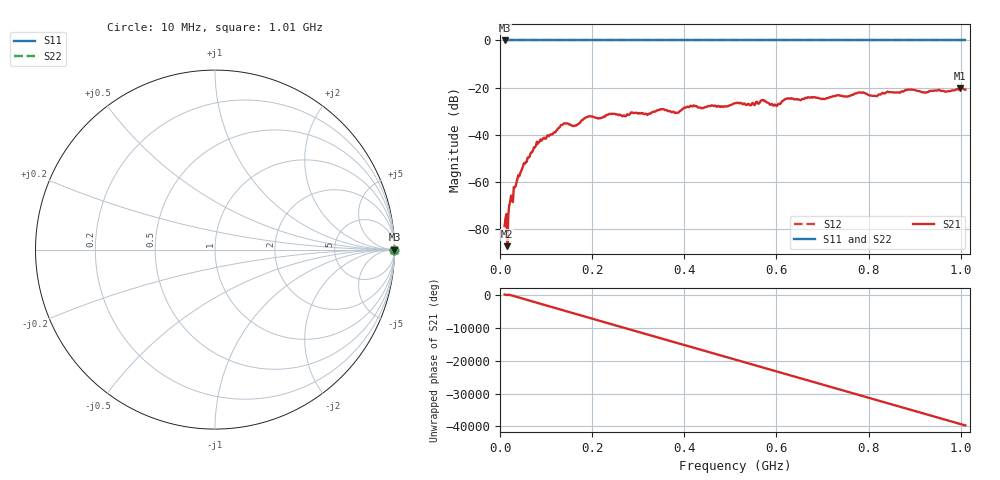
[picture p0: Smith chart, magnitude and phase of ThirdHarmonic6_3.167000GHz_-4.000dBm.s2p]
! 8/17/2025 9:31:28 AM
! C:\ANRITSUVNA\TEMP\TEMP.S2P
! CHANNEL.1
! TR.MEASUREMENT
! RAW.DATA
! RF.CORRECTION.OFF
! AVERAGING.OFF
! IF.BANDWIDTH: 5KHZ
! SWEEPTYPE:  FREQ.SWEEP(Linear)
! Reference Plane Port Info
! PORT:  PORT1  PORT2
! DISTANCE:  0  m  0  m
! TIME:  0  s  0  s
! PHASE.OFFSET:  0  deg.  0  deg.
! LOSS:  0  dB  0  dB
! REF.LOSS:  0  dB  0  dB
! REF.FREQ:  0  Hz  0  Hz
! Power Info
! POWER:  -20  dBm  -20  dBm
! EFF.POWER:  -20  dBm  -20  dBm
! SOURCE.ATTEN:  0  dB  0  dB
! TEST.ATTEN:  0  dB  0  dB
# GHZ S RI R 50.0
! FREQ.GHZ  S11RE  S11IM  S21RE  S21IM  S12RE  S12IM  S22RE  S22IM
!; PortSelection: Port_12
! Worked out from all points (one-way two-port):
!   501 points, 10 MHz to 1.01 GHz, reference 50 ohm
!   highest |S21| = -20.19 dB at 998 MHz (marker M1); lowest = -87.2 dB at 16 MHz (marker M2)
!   lowest |S11| = 0.0 dB at 10 MHz (marker M3)
!   |S11| at or under -10 dB: nowhere
!   |S22| runs from 0.0 to 0.0 dB; largest |S21 - S12| = 1.1
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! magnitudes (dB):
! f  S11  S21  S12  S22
! 10 MHz  0.0  -78.7  0.0  0.0
! 16 MHz  0.0  -87.2  0.0  0.0
! 22 MHz  0.0  -68.4  0.0  0.0
! 40 MHz  0.0  -57.0  0.0  0.0
! 76 MHz  0.0  -45.3  0.0  0.0
! 136 MHz  0.0  -35.7  0.0  0.0
! 162 MHz  0.0  -36.2  0.0  0.0
! 178 MHz  0.0  -33.8  0.0  0.0
! 194 MHz  0.0  -32.1  0.0  0.0
! 344 MHz  0.0  -29.6  0.0  0.0
! 384 MHz  0.0  -30.6  0.0  0.0
! 416 MHz  0.0  -27.9  0.0  0.0
! 510 MHz  0.0  -26.6  0.0  0.0
! 570 MHz  0.0  -25.2  0.0  0.0
! 598 MHz  0.0  -27.4  0.0  0.0
! 622 MHz  0.0  -24.7  0.0  0.0
! 678 MHz  0.0  -24.2  0.0  0.0
! 782 MHz  0.0  -22.1  0.0  0.0
! 814 MHz  0.0  -23.5  0.0  0.0
! 844 MHz  0.0  -21.9  0.0  0.0
! 998 MHz  0.0  -20.2  0.0  0.0
! 1.01 GHz  0.0  -20.9  0.0  0.0
